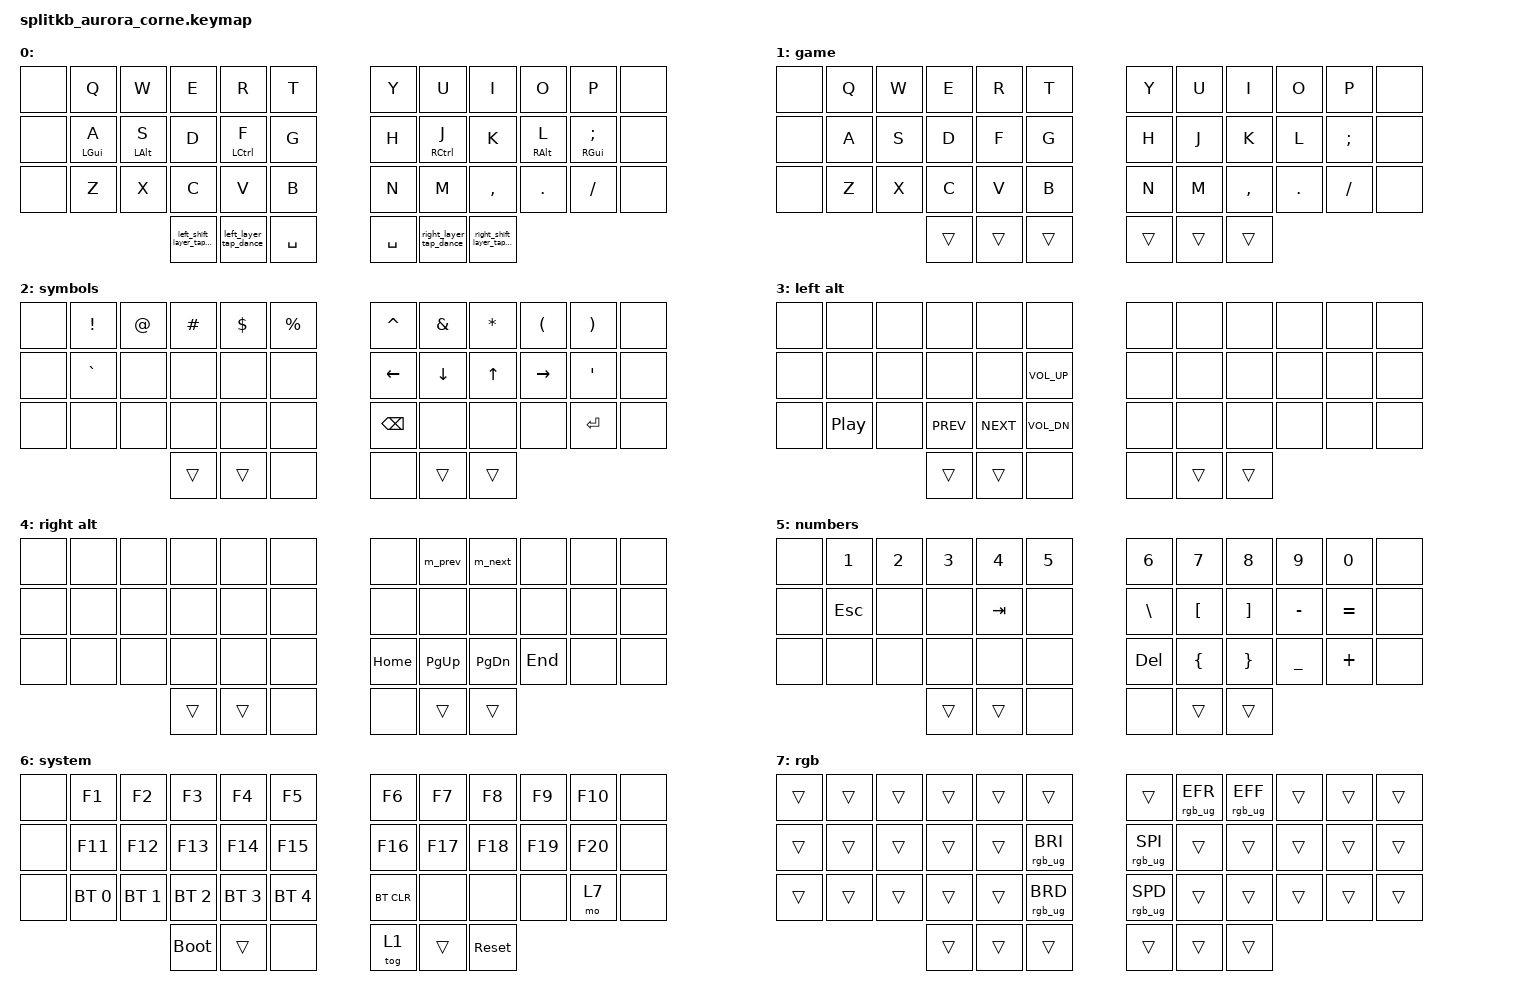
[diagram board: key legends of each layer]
/*
 * Copyright (c) 2020 The ZMK Contributors
 *
 * SPDX-License-Identifier: MIT
 */

#include <behaviors.dtsi>
#include <dt-bindings/zmk/bt.h>
#include <dt-bindings/zmk/keys.h>
#include <dt-bindings/zmk/keys.h>
#include <dt-bindings/zmk/rgb.h>

&led_strip { chain-length = <27>; };

&caps_word { continue-list = <UNDERSCORE MINUS BACKSPACE DELETE>; };

/ {
    conditional_layers {
        compatible = "zmk,conditional-layers";

        system_layer {
            if-layers = <5 2>;
            then-layer = <6>;
        };
    };

    macros {
        m_next: m_next {
            label = "M_NEXT";
            compatible = "zmk,behavior-macro";
            #binding-cells = <0>;
            bindings =
                <&macro_press>,
                <&kp RC(TAB)>,
                <&macro_release>,
                <&kp RC(TAB)>;
        };

        m_prev: m_prev {
            label = "M_PREV";
            compatible = "zmk,behavior-macro";
            #binding-cells = <0>;
            bindings =
                <&macro_press>,
                <&kp LC(LS(TAB))>,
                <&macro_release>,
                <&kp LC(LS(TAB))>;
        };
    };

    behaviors {
        left_homerow_mod: left_homerow_mod {
            compatible = "zmk,behavior-hold-tap";
            #binding-cells = <2>;
            label = "LEFT_HOMEROW_MOD";
            flavor = "balanced";
            require-prior-idle-ms = <125>;
            tapping-term-ms = <280>;
            quick-tap-ms = <125>;
            bindings = <&kp>, <&kp>;

            hold-trigger-key-positions = <6 7 8 9 10 11 18 19 20 21 22 23 30 31 32 33 34 35 36 37 38 39 40 41>;

            // right-hand keys + thumb cluster

            hold-trigger-on-release;
        };

        right_homerow_mod: right_homerow_mod {
            compatible = "zmk,behavior-hold-tap";
            #binding-cells = <2>;
            label = "RIGHT_HOMEROW_MOD";
            flavor = "balanced";
            require-prior-idle-ms = <125>;
            tapping-term-ms = <280>;
            quick-tap-ms = <125>;
            bindings = <&kp>, <&kp>;

            hold-trigger-key-positions = <0 1 2 3 4 5 12 13 14 15 16 17 24 25 26 27 28 29 36 37 38 39 40 41>;

            // left-hand keys + thumb cluster

            hold-trigger-on-release;
        };

        right_shift_layer_tap_dance: right_shift_layer_tap_dance {
            compatible = "zmk,behavior-tap-dance";
            label = "RIGHT_SHIFT_LAYER_TAP_DANCE";
            #binding-cells = <0>;
            bindings = <&kp RSHFT>, <&caps_word>;

            tapping-term-ms = <300>;
        };

        left_shift_layer_tap_dance: left_shift_layer_tap_dance {
            compatible = "zmk,behavior-tap-dance";
            label = "LEFT_SHIFT_LAYER_TAP_DANCE";
            #binding-cells = <0>;
            bindings = <&kp LSHFT>, <&caps_word>;

            tapping-term-ms = <300>;
        };

        left_layer_tap_dance: left_layer_tap_dance {
            compatible = "zmk,behavior-tap-dance";
            label = "LEFT_LAYER_TAP_DANCE";
            #binding-cells = <0>;
            bindings = <&mo 5>, <&mo 3>;

            tapping-term-ms = <300>;
        };

        right_layer_tap_dance: right_layer_tap_dance {
            compatible = "zmk,behavior-tap-dance";
            label = "RIGHT_LAYER_TAP_DANCE";
            #binding-cells = <0>;
            tapping-term-ms = <300>;
            bindings = <&mo 2>, <&mo 4>;
        };
    };

    combos {
        compatible = "zmk,combos";

        left_globe {
            bindings = <&kp GLOBE>;
            key-positions = <36 37>;
            layers = <0>;
        };

        right_globe {
            bindings = <&kp GLOBE>;
            key-positions = <41 40 41>;
            layers = <0>;
        };
    };

    keymap {
        compatible = "zmk,keymap";

        default {
            display-name = " ";
            bindings = <
&none  &kp Q                     &kp W                     &kp E                        &kp R                      &kp T        &kp Y      &kp U                       &kp I                         &kp O                      &kp P                         &none
&none  &left_homerow_mod LGUI A  &left_homerow_mod LALT S  &kp D                        &left_homerow_mod LCTRL F  &kp G        &kp H      &right_homerow_mod RCTRL J  &kp K                         &right_homerow_mod RALT L  &right_homerow_mod RGUI SEMI  &none
&none  &kp Z                     &kp X                     &kp C                        &kp V                      &kp B        &kp N      &kp M                       &kp COMMA                     &kp DOT                    &kp FSLH                      &none
                                                           &left_shift_layer_tap_dance  &left_layer_tap_dance      &kp SPACE    &kp SPACE  &right_layer_tap_dance      &right_shift_layer_tap_dance
            >;
        };

        game {
            display-name = "game";
            bindings = <
&none  &kp Q  &kp W  &kp E   &kp R   &kp T     &kp Y   &kp U   &kp I      &kp O    &kp P     &none
&none  &kp A  &kp S  &kp D   &kp F   &kp G     &kp H   &kp J   &kp K      &kp L    &kp SEMI  &none
&none  &kp Z  &kp X  &kp C   &kp V   &kp B     &kp N   &kp M   &kp COMMA  &kp DOT  &kp FSLH  &none
                     &trans  &trans  &trans    &trans  &trans  &trans
            >;
        };

        symbols {
            display-name = "symbols";
            bindings = <
&none  &kp EXCL   &kp AT  &kp POUND  &kp DOLLAR  &kp PERCENT    &kp CARET       &kp AMPS  &kp ASTERISK  &kp LPAR   &kp RPAR   &none
&none  &kp GRAVE  &none   &none      &none       &none          &kp LEFT_ARROW  &kp DOWN  &kp UP        &kp RIGHT  &kp APOS   &none
&none  &none      &none   &none      &none       &none          &kp BACKSPACE   &none     &none         &none      &kp ENTER  &none
                          &trans     &trans      &none          &none           &trans    &trans
            >;
        };

        left_alt {
            display-name = "left alt";
            bindings = <
&none  &none             &none  &none       &none       &none           &none  &none   &none   &none  &none  &none
&none  &none             &none  &none       &none       &kp C_VOL_UP    &none  &none   &none   &none  &none  &none
&none  &kp C_PLAY_PAUSE  &none  &kp C_PREV  &kp C_NEXT  &kp C_VOL_DN    &none  &none   &none   &none  &none  &none
                                &trans      &trans      &none           &none  &trans  &trans
            >;
        };

        right_alt {
            display-name = "right alt";
            bindings = <
&none  &none  &none  &none   &none   &none    &none     &m_prev    &m_next    &none    &none  &none
&none  &none  &none  &none   &none   &none    &none     &none      &none      &none    &none  &none
&none  &none  &none  &none   &none   &none    &kp HOME  &kp PG_UP  &kp PG_DN  &kp END  &none  &none
                     &trans  &trans  &none    &none     &trans     &trans
            >;
        };

        numbers {
            display-name = "numbers";
            bindings = <
&none  &kp N1   &kp N2  &kp N3  &kp N4   &kp N5    &kp N6         &kp N7            &kp N8             &kp N9     &kp N0     &none
&none  &kp ESC  &none   &none   &kp TAB  &none     &kp BACKSLASH  &kp LEFT_BRACKET  &kp RIGHT_BRACKET  &kp MINUS  &kp EQUAL  &none
&none  &none    &none   &none   &none    &none     &kp DELETE     &kp LEFT_BRACE    &kp RIGHT_BRACE    &kp UNDER  &kp PLUS   &none
                        &trans  &trans   &none     &none          &trans            &trans
            >;
        };

        system {
            display-name = "system";
            bindings = <
&none  &kp F1        &kp F2        &kp F3        &kp F4        &kp F5          &kp F6      &kp F7   &kp F8      &kp F9   &kp F10  &none
&none  &kp F11       &kp F12       &kp F13       &kp F14       &kp F15         &kp F16     &kp F17  &kp F18     &kp F19  &kp F20  &none
&none  &bt BT_SEL 0  &bt BT_SEL 1  &bt BT_SEL 2  &bt BT_SEL 3  &bt BT_SEL 4    &bt BT_CLR  &none    &none       &none    &mo 7    &none
                                   &bootloader   &trans        &none           &tog 1      &trans   &sys_reset
            >;
        };

        rgb {
            display-name = "rgb";
            bindings = <
&trans  &trans  &trans  &trans  &trans  &trans             &trans           &rgb_ug RGB_EFR  &rgb_ug RGB_EFF  &trans  &trans  &trans
&trans  &trans  &trans  &trans  &trans  &rgb_ug RGB_BRI    &rgb_ug RGB_SPI  &trans           &trans           &trans  &trans  &trans
&trans  &trans  &trans  &trans  &trans  &rgb_ug RGB_BRD    &rgb_ug RGB_SPD  &trans           &trans           &trans  &trans  &trans
                        &trans  &trans  &trans             &trans           &trans           &trans
            >;
        };
    };
};
